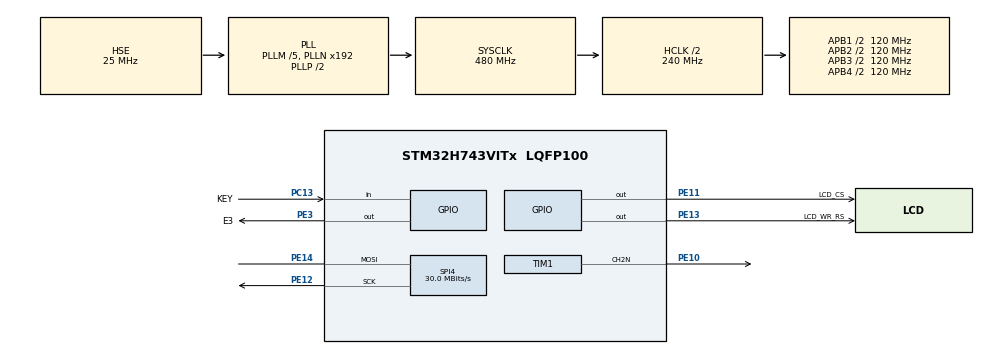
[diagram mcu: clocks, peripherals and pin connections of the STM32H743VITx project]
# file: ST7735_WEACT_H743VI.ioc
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CORTEX_M7.default_mode_Activation=1
Mcu.Family=STM32H7
Mcu.Name=STM32H743VITx
Mcu.Package=LQFP100
NVIC.PriorityGroup=NVIC_PRIORITYGROUP_4
PC13.GPIO_Label=KEY
PC13.GPIO_PuPd=GPIO_PULLDOWN
PC13.Signal=GPIO_Input
PC14-OSC32_IN\ (OSC32_IN).Mode=LSE-External-Oscillator
PC14-OSC32_IN\ (OSC32_IN).Signal=RCC_OSC32_IN
PC15-OSC32_OUT\ (OSC32_OUT).Mode=LSE-External-Oscillator
PC15-OSC32_OUT\ (OSC32_OUT).Signal=RCC_OSC32_OUT
PE10.Mode=PWM Generation2 CH2N
PE10.Signal=TIM1_CH2N
PE11.GPIO_Label=LCD_CS
PE11.GPIO_Speed=GPIO_SPEED_FREQ_VERY_HIGH
PE11.PinState=GPIO_PIN_SET
PE11.Signal=GPIO_Output
PE12.Mode=Simplex_Bidirectional_Master
PE12.Signal=SPI4_SCK
PE13.GPIO_Label=LCD_WR_RS
PE13.GPIO_Speed=GPIO_SPEED_FREQ_VERY_HIGH
PE13.PinState=GPIO_PIN_SET
PE13.Signal=GPIO_Output
PE14.Mode=Simplex_Bidirectional_Master
PE14.Signal=SPI4_MOSI
PE3.GPIO_Label=E3
PE3.Signal=GPIO_Output
PH0-OSC_IN\ (PH0).Mode=HSE-External-Oscillator
PH0-OSC_IN\ (PH0).Signal=RCC_OSC_IN
PH1-OSC_OUT\ (PH1).Mode=HSE-External-Oscillator
PH1-OSC_OUT\ (PH1).Signal=RCC_OSC_OUT
ProjectManager.HeapSize=0x200
ProjectManager.StackSize=0x400
ProjectManager.TargetToolchain=STM32CubeIDE
RCC.ADCFreq_Value=50390625
RCC.APB1Freq_Value=120000000
RCC.APB2Freq_Value=120000000
RCC.APB3Freq_Value=120000000
RCC.APB4Freq_Value=120000000
RCC.CortexFreq_Value=480000000
RCC.D1PPRE=RCC_APB3_DIV2
RCC.D2PPRE1=RCC_APB1_DIV2
RCC.D2PPRE2=RCC_APB2_DIV2
RCC.D3PPRE=RCC_APB4_DIV2
RCC.DIVM1=5
RCC.DIVN1=192
RCC.DIVQ1=5
RCC.HCLKFreq_Value=240000000
RCC.HPRE=RCC_HCLK_DIV2
RCC.LSE_Drive_Capability=RCC_LSEDRIVE_HIGH
RCC.PLLFRACN=0
RCC.PLLSourceVirtual=RCC_PLLSOURCE_HSE
RCC.RTCClockSelection=RCC_RTCCLKSOURCE_LSE
RCC.SYSCLKFreq_VALUE=480000000
RCC.SYSCLKSource=RCC_SYSCLKSOURCE_PLLCLK
RCC.USBFreq_Value=192000000
RTC.Date=27
RTC.Hours=20
RTC.Minutes=40
RTC.Month=RTC_MONTH_JUNE
RTC.Year=26
SPI4.BaudRatePrescaler=SPI_BAUDRATEPRESCALER_4
SPI4.CalculateBaudRate=30.0 MBits/s
SPI4.DataSize=SPI_DATASIZE_8BIT
SPI4.Direction=SPI_DIRECTION_1LINE
SPI4.Mode=SPI_MODE_MASTER
SPI4.VirtualType=VM_MASTER
TIM1.Channel-PWM\ Generation2\ CH2N=TIM_CHANNEL_2
VP_MEMORYMAP_VS_MEMORYMAP.Mode=CurAppReg
VP_RTC_VS_RTC_Activate.Mode=RTC_Enabled
VP_RTC_VS_RTC_Calendar.Mode=RTC_Calendar
board=custom

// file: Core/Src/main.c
/* USER CODE BEGIN Header */
/**
  ******************************************************************************
  * @file           : main.c
  * @brief          : Main program body
  ******************************************************************************
  * @attention
  *
  * Copyright (c) 2026 STMicroelectronics.
  * All rights reserved.
  *
  * This software is licensed under terms that can be found in the LICENSE file
  * in the root directory of this software component.
  * If no LICENSE file comes with this software, it is provided AS-IS.
  *
  ******************************************************************************
  */
/* USER CODE END Header */
#include "main.h"

/* USER CODE BEGIN Includes */
#include <stdio.h>
/* USER CODE END Includes */

RTC_HandleTypeDef hrtc;

SPI_HandleTypeDef hspi4;

TIM_HandleTypeDef htim1;

/* USER CODE BEGIN PV */
const char *monthName[] = {
    "Jan", "Feb", "Mar", "Apr", "May", "Jun",
    "Jul", "Aug", "Sep", "Oct", "Nov", "Dec"
};
/* USER CODE END PV */

void SystemClock_Config(void);
static void MPU_Config(void);
static void MX_GPIO_Init(void);
static void MX_RTC_Init(void);
static void MX_SPI4_Init(void);
static void MX_TIM1_Init(void);
/* USER CODE BEGIN PFP */
void LCD_Test(void);
void LCD_ShowString(uint16_t x,uint16_t y,uint16_t width,uint16_t height,uint8_t size,uint8_t *p);
static void RTC_CalendarShow(RTC_DateTypeDef *sdatestructureget, RTC_TimeTypeDef *stimestructureget);
static void LED_Blink(uint32_t Hdelay,uint32_t Ldelay);
/* USER CODE END PFP */

int main(void)
{

  /* MPU Configuration--------------------------------------------------------*/
  MPU_Config();

  /* MCU Configuration--------------------------------------------------------*/

  /* Reset of all peripherals, Initializes the Flash interface and the Systick. */
  HAL_Init();

  /* Configure the system clock */
  SystemClock_Config();

  /* Initialize all configured peripherals */
  MX_GPIO_Init();
  MX_RTC_Init();
  MX_SPI4_Init();
  MX_TIM1_Init();
  /* USER CODE BEGIN 2 */
  LCD_Test();
  /* USER CODE END 2 */

  /* Infinite loop */
  /* USER CODE BEGIN WHILE */
  uint8_t text[40];
  RTC_DateTypeDef sdatestructureget;
  RTC_TimeTypeDef stimestructureget;
  while (1)
  {
    /* USER CODE END WHILE */

    /* USER CODE BEGIN 3 */
	RTC_CalendarShow(&sdatestructureget, &stimestructureget);

	char sep = (stimestructureget.Seconds % 2 == 0) ? ':' : ' ';
	sprintf((char *)text,
		  "%02d%c%02d %02d %s 20%02d",
		  stimestructureget.Hours,
		  sep,
		  stimestructureget.Minutes,
		  sdatestructureget.Date,
		  monthName[sdatestructureget.Month - 1],
		  sdatestructureget.Year);

	LCD_ShowString(4, 58, 160, 16, 16, text);

	LED_Blink(3,500);
  }
  /* USER CODE END 3 */
}

void SystemClock_Config(void)
{
  RCC_OscInitTypeDef RCC_OscInitStruct = {0};
  RCC_ClkInitTypeDef RCC_ClkInitStruct = {0};

  /** Supply configuration update enable
  */
  HAL_PWREx_ConfigSupply(PWR_LDO_SUPPLY);

  /** Configure the main internal regulator output voltage
  */
  __HAL_PWR_VOLTAGESCALING_CONFIG(PWR_REGULATOR_VOLTAGE_SCALE0);

  while(!__HAL_PWR_GET_FLAG(PWR_FLAG_VOSRDY)) {}

  /** Configure LSE Drive Capability
  */
  HAL_PWR_EnableBkUpAccess();
  __HAL_RCC_BACKUPRESET_FORCE();
  HAL_Delay(10);
  __HAL_RCC_BACKUPRESET_RELEASE();
  __HAL_RCC_LSEDRIVE_CONFIG(RCC_LSEDRIVE_HIGH);

  /** Initializes the RCC Oscillators according to the specified parameters
  * in the RCC_OscInitTypeDef structure.
  */
  RCC_OscInitStruct.OscillatorType = RCC_OSCILLATORTYPE_HSE|RCC_OSCILLATORTYPE_LSE;
  RCC_OscInitStruct.HSEState = RCC_HSE_ON;
  RCC_OscInitStruct.LSEState = RCC_LSE_ON;
  RCC_OscInitStruct.PLL.PLLState = RCC_PLL_ON;
  RCC_OscInitStruct.PLL.PLLSource = RCC_PLLSOURCE_HSE;
  RCC_OscInitStruct.PLL.PLLM = 5;
  RCC_OscInitStruct.PLL.PLLN = 192;
  RCC_OscInitStruct.PLL.PLLP = 2;
  RCC_OscInitStruct.PLL.PLLQ = 5;
  RCC_OscInitStruct.PLL.PLLR = 2;
  RCC_OscInitStruct.PLL.PLLRGE = RCC_PLL1VCIRANGE_2;
  RCC_OscInitStruct.PLL.PLLVCOSEL = RCC_PLL1VCOWIDE;
  RCC_OscInitStruct.PLL.PLLFRACN = 0;
  if (HAL_RCC_OscConfig(&RCC_OscInitStruct) != HAL_OK)
  {
    Error_Handler();
  }

  /** Initializes the CPU, AHB and APB buses clocks
  */
  RCC_ClkInitStruct.ClockType = RCC_CLOCKTYPE_HCLK|RCC_CLOCKTYPE_SYSCLK
                              |RCC_CLOCKTYPE_PCLK1|RCC_CLOCKTYPE_PCLK2
                              |RCC_CLOCKTYPE_D3PCLK1|RCC_CLOCKTYPE_D1PCLK1;
  RCC_ClkInitStruct.SYSCLKSource = RCC_SYSCLKSOURCE_PLLCLK;
  RCC_ClkInitStruct.SYSCLKDivider = RCC_SYSCLK_DIV1;
  RCC_ClkInitStruct.AHBCLKDivider = RCC_HCLK_DIV2;
  RCC_ClkInitStruct.APB3CLKDivider = RCC_APB3_DIV2;
  RCC_ClkInitStruct.APB1CLKDivider = RCC_APB1_DIV2;
  RCC_ClkInitStruct.APB2CLKDivider = RCC_APB2_DIV2;
  RCC_ClkInitStruct.APB4CLKDivider = RCC_APB4_DIV2;

  if (HAL_RCC_ClockConfig(&RCC_ClkInitStruct, FLASH_LATENCY_4) != HAL_OK)
  {
    Error_Handler();
  }
}

static void MX_RTC_Init(void)
{

  RTC_TimeTypeDef sTime = {0};
  RTC_DateTypeDef sDate = {0};

  /** Initialize RTC Only
  */
  hrtc.Instance = RTC;
  hrtc.Init.HourFormat = RTC_HOURFORMAT_24;
  hrtc.Init.AsynchPrediv = 127;
  hrtc.Init.SynchPrediv = 255;
  hrtc.Init.OutPut = RTC_OUTPUT_DISABLE;
  hrtc.Init.OutPutPolarity = RTC_OUTPUT_POLARITY_HIGH;
  hrtc.Init.OutPutType = RTC_OUTPUT_TYPE_OPENDRAIN;
  hrtc.Init.OutPutRemap = RTC_OUTPUT_REMAP_NONE;
  if (HAL_RTC_Init(&hrtc) != HAL_OK)
  {
    Error_Handler();
  }

  /** Initialize RTC and set the Time and Date
  */
  sTime.Hours = 0x20;
  sTime.Minutes = 0x40;
  sTime.Seconds = 0x0;
  sTime.DayLightSaving = RTC_DAYLIGHTSAVING_NONE;
  sTime.StoreOperation = RTC_STOREOPERATION_RESET;
  if (HAL_RTC_SetTime(&hrtc, &sTime, RTC_FORMAT_BCD) != HAL_OK)
  {
    Error_Handler();
  }
  sDate.WeekDay = RTC_WEEKDAY_MONDAY;
  sDate.Month = RTC_MONTH_JUNE;
  sDate.Date = 0x27;
  sDate.Year = 0x26;

  if (HAL_RTC_SetDate(&hrtc, &sDate, RTC_FORMAT_BCD) != HAL_OK)
  {
    Error_Handler();
  }

}

static void MX_SPI4_Init(void)
{

  /* SPI4 parameter configuration*/
  hspi4.Instance = SPI4;
  hspi4.Init.Mode = SPI_MODE_MASTER;
  hspi4.Init.Direction = SPI_DIRECTION_1LINE;
  hspi4.Init.DataSize = SPI_DATASIZE_8BIT;
  hspi4.Init.CLKPolarity = SPI_POLARITY_LOW;
  hspi4.Init.CLKPhase = SPI_PHASE_1EDGE;
  hspi4.Init.NSS = SPI_NSS_SOFT;
  hspi4.Init.BaudRatePrescaler = SPI_BAUDRATEPRESCALER_4;
  hspi4.Init.FirstBit = SPI_FIRSTBIT_MSB;
  hspi4.Init.TIMode = SPI_TIMODE_DISABLE;
  hspi4.Init.CRCCalculation = SPI_CRCCALCULATION_DISABLE;
  hspi4.Init.CRCPolynomial = 0x0;
  hspi4.Init.NSSPMode = SPI_NSS_PULSE_ENABLE;
  hspi4.Init.NSSPolarity = SPI_NSS_POLARITY_LOW;
  hspi4.Init.FifoThreshold = SPI_FIFO_THRESHOLD_01DATA;
  hspi4.Init.TxCRCInitializationPattern = SPI_CRC_INITIALIZATION_ALL_ZERO_PATTERN;
  hspi4.Init.RxCRCInitializationPattern = SPI_CRC_INITIALIZATION_ALL_ZERO_PATTERN;
  hspi4.Init.MasterSSIdleness = SPI_MASTER_SS_IDLENESS_00CYCLE;
  hspi4.Init.MasterInterDataIdleness = SPI_MASTER_INTERDATA_IDLENESS_00CYCLE;
  hspi4.Init.MasterReceiverAutoSusp = SPI_MASTER_RX_AUTOSUSP_DISABLE;
  hspi4.Init.MasterKeepIOState = SPI_MASTER_KEEP_IO_STATE_DISABLE;
  hspi4.Init.IOSwap = SPI_IO_SWAP_DISABLE;
  if (HAL_SPI_Init(&hspi4) != HAL_OK)
  {
    Error_Handler();
  }

}

static void MX_TIM1_Init(void)
{

  TIM_MasterConfigTypeDef sMasterConfig = {0};
  TIM_OC_InitTypeDef sConfigOC = {0};
  TIM_BreakDeadTimeConfigTypeDef sBreakDeadTimeConfig = {0};

  htim1.Instance = TIM1;
  htim1.Init.Prescaler = 0;
  htim1.Init.CounterMode = TIM_COUNTERMODE_UP;
  htim1.Init.Period = 65535;
  htim1.Init.ClockDivision = TIM_CLOCKDIVISION_DIV1;
  htim1.Init.RepetitionCounter = 0;
  htim1.Init.AutoReloadPreload = TIM_AUTORELOAD_PRELOAD_DISABLE;
  if (HAL_TIM_PWM_Init(&htim1) != HAL_OK)
  {
    Error_Handler();
  }
  sMasterConfig.MasterOutputTrigger = TIM_TRGO_RESET;
  sMasterConfig.MasterOutputTrigger2 = TIM_TRGO2_RESET;
  sMasterConfig.MasterSlaveMode = TIM_MASTERSLAVEMODE_DISABLE;
  if (HAL_TIMEx_MasterConfigSynchronization(&htim1, &sMasterConfig) != HAL_OK)
  {
    Error_Handler();
  }
  sConfigOC.OCMode = TIM_OCMODE_PWM1;
  sConfigOC.Pulse = 0;
  sConfigOC.OCPolarity = TIM_OCPOLARITY_HIGH;
  sConfigOC.OCNPolarity = TIM_OCNPOLARITY_HIGH;
  sConfigOC.OCFastMode = TIM_OCFAST_DISABLE;
  sConfigOC.OCIdleState = TIM_OCIDLESTATE_RESET;
  sConfigOC.OCNIdleState = TIM_OCNIDLESTATE_RESET;
  if (HAL_TIM_PWM_ConfigChannel(&htim1, &sConfigOC, TIM_CHANNEL_2) != HAL_OK)
  {
    Error_Handler();
  }
  sBreakDeadTimeConfig.OffStateRunMode = TIM_OSSR_DISABLE;
  sBreakDeadTimeConfig.OffStateIDLEMode = TIM_OSSI_DISABLE;
  sBreakDeadTimeConfig.LockLevel = TIM_LOCKLEVEL_OFF;
  sBreakDeadTimeConfig.DeadTime = 0;
  sBreakDeadTimeConfig.BreakState = TIM_BREAK_DISABLE;
  sBreakDeadTimeConfig.BreakPolarity = TIM_BREAKPOLARITY_HIGH;
  sBreakDeadTimeConfig.BreakFilter = 0;
  sBreakDeadTimeConfig.Break2State = TIM_BREAK2_DISABLE;
  sBreakDeadTimeConfig.Break2Polarity = TIM_BREAK2POLARITY_HIGH;
  sBreakDeadTimeConfig.Break2Filter = 0;
  sBreakDeadTimeConfig.AutomaticOutput = TIM_AUTOMATICOUTPUT_DISABLE;
  if (HAL_TIMEx_ConfigBreakDeadTime(&htim1, &sBreakDeadTimeConfig) != HAL_OK)
  {
    Error_Handler();
  }
  HAL_TIM_MspPostInit(&htim1);

}

static void MX_GPIO_Init(void)
{
  GPIO_InitTypeDef GPIO_InitStruct = {0};

  /* GPIO Ports Clock Enable */
  __HAL_RCC_GPIOE_CLK_ENABLE();
  __HAL_RCC_GPIOC_CLK_ENABLE();
  __HAL_RCC_GPIOH_CLK_ENABLE();

  /*Configure GPIO pin Output Level */
  HAL_GPIO_WritePin(E3_GPIO_Port, E3_Pin, GPIO_PIN_RESET);

  /*Configure GPIO pin Output Level */
  HAL_GPIO_WritePin(GPIOE, LCD_CS_Pin|LCD_WR_RS_Pin, GPIO_PIN_SET);

  /*Configure GPIO pin : E3_Pin */
  GPIO_InitStruct.Pin = E3_Pin;
  GPIO_InitStruct.Mode = GPIO_MODE_OUTPUT_PP;
  GPIO_InitStruct.Pull = GPIO_NOPULL;
  GPIO_InitStruct.Speed = GPIO_SPEED_FREQ_LOW;
  HAL_GPIO_Init(E3_GPIO_Port, &GPIO_InitStruct);

  /*Configure GPIO pin : KEY_Pin */
  GPIO_InitStruct.Pin = KEY_Pin;
  GPIO_InitStruct.Mode = GPIO_MODE_INPUT;
  GPIO_InitStruct.Pull = GPIO_PULLDOWN;
  HAL_GPIO_Init(KEY_GPIO_Port, &GPIO_InitStruct);

  /*Configure GPIO pins : LCD_CS_Pin LCD_WR_RS_Pin */
  GPIO_InitStruct.Pin = LCD_CS_Pin|LCD_WR_RS_Pin;
  GPIO_InitStruct.Mode = GPIO_MODE_OUTPUT_PP;
  GPIO_InitStruct.Pull = GPIO_NOPULL;
  GPIO_InitStruct.Speed = GPIO_SPEED_FREQ_VERY_HIGH;
  HAL_GPIO_Init(GPIOE, &GPIO_InitStruct);

}

/* USER CODE BEGIN 4 */
static void RTC_CalendarShow(RTC_DateTypeDef *sdatestructureget,RTC_TimeTypeDef *stimestructureget)
{
  /* Both time and date must be obtained or RTC cannot be read next time */
  /* Get the RTC current Time */
  HAL_RTC_GetTime(&hrtc, stimestructureget, RTC_FORMAT_BIN);
  /* Get the RTC current Date */
  HAL_RTC_GetDate(&hrtc, sdatestructureget, RTC_FORMAT_BIN);
}
static void LED_Blink(uint32_t Hdelay,uint32_t Ldelay)
{
	HAL_GPIO_WritePin(E3_GPIO_Port,E3_Pin,GPIO_PIN_SET);
	HAL_Delay(Hdelay - 1);
	HAL_GPIO_WritePin(E3_GPIO_Port,E3_Pin,GPIO_PIN_RESET);
	HAL_Delay(Ldelay-1);
}
/* USER CODE END 4 */

 /* MPU Configuration */

void MPU_Config(void)
{
  MPU_Region_InitTypeDef MPU_InitStruct = {0};

  /* Disables the MPU */
  HAL_MPU_Disable();

  /** Initializes and configures the Region and the memory to be protected
  */
  MPU_InitStruct.Enable = MPU_REGION_ENABLE;
  MPU_InitStruct.Number = MPU_REGION_NUMBER0;
  MPU_InitStruct.BaseAddress = 0x0;
  MPU_InitStruct.Size = MPU_REGION_SIZE_4GB;
  MPU_InitStruct.SubRegionDisable = 0x87;
  MPU_InitStruct.TypeExtField = MPU_TEX_LEVEL0;
  MPU_InitStruct.AccessPermission = MPU_REGION_NO_ACCESS;
  MPU_InitStruct.DisableExec = MPU_INSTRUCTION_ACCESS_DISABLE;
  MPU_InitStruct.IsShareable = MPU_ACCESS_SHAREABLE;
  MPU_InitStruct.IsCacheable = MPU_ACCESS_NOT_CACHEABLE;
  MPU_InitStruct.IsBufferable = MPU_ACCESS_NOT_BUFFERABLE;

  HAL_MPU_ConfigRegion(&MPU_InitStruct);
  /* Enables the MPU */
  HAL_MPU_Enable(MPU_PRIVILEGED_DEFAULT);

}

void Error_Handler(void)
{
  __disable_irq();
  while (1)
  {
  }
}
